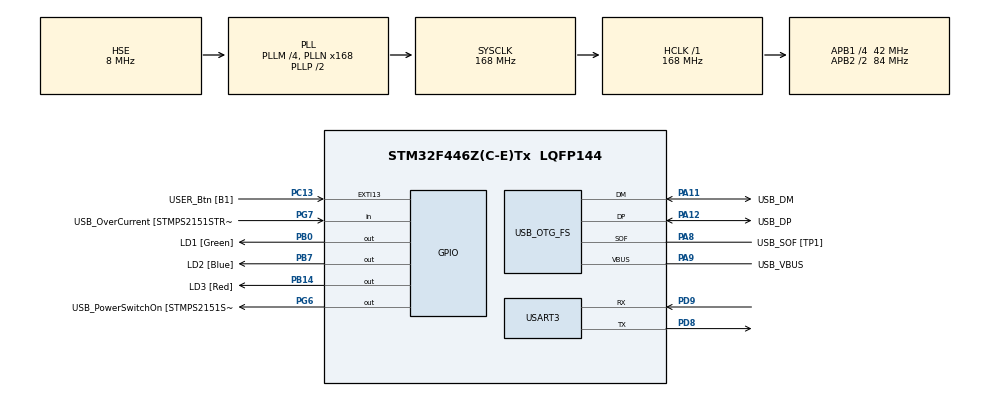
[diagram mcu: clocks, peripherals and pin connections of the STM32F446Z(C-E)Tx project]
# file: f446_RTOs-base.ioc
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FREERTOS.Tasks01=sensors,32,512,StartSensors,Default,NULL,Static,sensorsBuffer,sensorsControlBlock;telemetry,8,512,StartTelemetry,Default,NULL,Static,telemetryBuffer,telemetryControlBlock;ejection,8,512,StartEjection,Default,NULL,Static,ejectionBuffer,ejectionControlBlock
FREERTOS.configUSE_NEWLIB_REENTRANT=1
Mcu.Family=STM32F4
Mcu.Name=STM32F446Z(C-E)Tx
Mcu.Package=LQFP144
NVIC.PriorityGroup=NVIC_PRIORITYGROUP_4
NVIC.TIM6_DAC_IRQn=true\:15\:0\:false\:false\:true\:false\:false\:true
NVIC.TimeBase=TIM6_DAC_IRQn
NVIC.TimeBaseIP=TIM6
PA10.GPIO_Label=USB_ID
PA10.Signal=USB_OTG_FS_ID
PA11.GPIO_Label=USB_DM
PA11.Mode=Device_Only
PA11.Signal=USB_OTG_FS_DM
PA12.GPIO_Label=USB_DP
PA12.Mode=Device_Only
PA12.Signal=USB_OTG_FS_DP
PA13.GPIO_Label=TMS
PA13.Mode=Serial_Wire
PA13.Signal=SYS_JTMS-SWDIO
PA14.GPIO_Label=TCK
PA14.Mode=Serial_Wire
PA14.Signal=SYS_JTCK-SWCLK
PA8.GPIO_Label=USB_SOF [TP1]
PA8.Mode=Activate_SOF_FS
PA8.Signal=USB_OTG_FS_SOF
PA9.GPIO_Label=USB_VBUS
PA9.Mode=Activate_VBUS
PA9.Signal=USB_OTG_FS_VBUS
PB0.GPIO_Label=LD1 [Green]
PB0.Signal=GPIO_Output
PB14.GPIO_Label=LD3 [Red]
PB14.Signal=GPIO_Output
PB7.GPIO_Label=LD2 [Blue]
PB7.Signal=GPIO_Output
PC13.GPIO_Label=USER_Btn [B1]
PC13.Signal=GPXTI13
PC14-OSC32_IN.Mode=LSE-External-Oscillator
PC14-OSC32_IN.Signal=RCC_OSC32_IN
PC15-OSC32_OUT.Mode=LSE-External-Oscillator
PC15-OSC32_OUT.Signal=RCC_OSC32_OUT
PD8.Mode=Asynchronous
PD8.Signal=USART3_TX
PD9.Mode=Asynchronous
PD9.Signal=USART3_RX
PG6.GPIO_Label=USB_PowerSwitchOn [STMPS2151STR_EN]
PG6.Signal=GPIO_Output
PG7.GPIO_Label=USB_OverCurrent [STMPS2151STR_FAULT]
PG7.Signal=GPIO_Input
PH0-OSC_IN.GPIO_Label=MCO [STM32F103CBT6_PA8]
PH0-OSC_IN.Mode=HSE-External-Clock-Source
PH0-OSC_IN.Signal=RCC_OSC_IN
PH1-OSC_OUT.Mode=HSE-External-Clock-Source
PH1-OSC_OUT.Signal=RCC_OSC_OUT
ProjectManager.HeapSize=0x200
ProjectManager.StackSize=0x400
ProjectManager.TargetToolchain=STM32CubeIDE
RCC.48MHZClocksFreq_Value=24000000
RCC.AHBFreq_Value=168000000
RCC.APB1CLKDivider=RCC_HCLK_DIV4
RCC.APB1Freq_Value=42000000
RCC.APB1TimFreq_Value=84000000
RCC.APB2CLKDivider=RCC_HCLK_DIV2
RCC.APB2Freq_Value=84000000
RCC.APB2TimFreq_Value=168000000
RCC.CortexFreq_Value=168000000
RCC.HCLKFreq_Value=168000000
RCC.HSE_VALUE=8000000
RCC.HSI_VALUE=16000000
RCC.PLLM=4
RCC.PLLMUL=RCC_PLL_MUL9
RCC.PLLN=168
RCC.PLLQ=7
RCC.PRESCALERUSB=RCC_USBCLKSOURCE_PLL_DIV1_5
RCC.SYSCLKFreq_VALUE=168000000
RCC.SYSCLKSource=RCC_SYSCLKSOURCE_PLLCLK
RCC.SYSCLKSourceVirtual=RCC_SYSCLKSOURCE_PLLCLK
RCC.USBFreq_Value=48000000
RCC.VCOOutputFreq_Value=336000000
USART3.VirtualMode=VM_ASYNC
USB_OTG_FS.VirtualMode=Device_Only
VP_FREERTOS_VS_CMSIS_V2.Mode=CMSIS_V2
VP_SYS_VS_tim6.Mode=TIM6
board=NUCLEO-F446ZE

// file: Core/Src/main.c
/* USER CODE BEGIN Header */
/**
  ******************************************************************************
  * @file           : main.c
  * @brief          : Main program body
  ******************************************************************************
  * @attention
  *
  * <h2><center>&copy; Copyright (c) 2021 STMicroelectronics.
  * All rights reserved.</center></h2>
  *
  * This software component is licensed by ST under Ultimate Liberty license
  * SLA0044, the "License"; You may not use this file except in compliance with
  * the License. You may obtain a copy of the License at:
  *                             www.st.com/SLA0044
  *
  ******************************************************************************
  */
/* USER CODE END Header */
#include "main.h"
#include "cmsis_os.h"

typedef StaticTask_t osStaticThreadDef_t;

UART_HandleTypeDef huart3;

PCD_HandleTypeDef hpcd_USB_OTG_FS;

/* Definitions for sensors */
osThreadId_t sensorsHandle;
uint32_t sensorsBuffer[ 512 ];
osStaticThreadDef_t sensorsControlBlock;
const osThreadAttr_t sensors_attributes = {
  .name = "sensors",
  .cb_mem = &sensorsControlBlock,
  .cb_size = sizeof(sensorsControlBlock),
  .stack_mem = &sensorsBuffer[0],
  .stack_size = sizeof(sensorsBuffer),
  .priority = (osPriority_t) osPriorityAboveNormal,
};
/* Definitions for telemetry */
osThreadId_t telemetryHandle;
uint32_t telemetryBuffer[ 512 ];
osStaticThreadDef_t telemetryControlBlock;
const osThreadAttr_t telemetry_attributes = {
  .name = "telemetry",
  .cb_mem = &telemetryControlBlock,
  .cb_size = sizeof(telemetryControlBlock),
  .stack_mem = &telemetryBuffer[0],
  .stack_size = sizeof(telemetryBuffer),
  .priority = (osPriority_t) osPriorityLow,
};
/* Definitions for ejection */
osThreadId_t ejectionHandle;
uint32_t ejectionBuffer[ 512 ];
osStaticThreadDef_t ejectionControlBlock;
const osThreadAttr_t ejection_attributes = {
  .name = "ejection",
  .cb_mem = &ejectionControlBlock,
  .cb_size = sizeof(ejectionControlBlock),
  .stack_mem = &ejectionBuffer[0],
  .stack_size = sizeof(ejectionBuffer),
  .priority = (osPriority_t) osPriorityLow,
};
/* USER CODE BEGIN PV */
char msg[100];

float acceleration;
uint32_t numberOfFriends = 0; // :(
/* USER CODE END PV */

void SystemClock_Config(void);
static void MX_GPIO_Init(void);
static void MX_USART3_UART_Init(void);
static void MX_USB_OTG_FS_PCD_Init(void);
void StartSensors(void *argument);
void StartTelemetry(void *argument);
void StartEjection(void *argument);

/* USER CODE BEGIN PFP */
void myprintf(char *buffer) {
	HAL_UART_Transmit(&huart3, (uint8_t*) buffer, 100, 100);
}
/* USER CODE END PFP */

int main(void)
{

  /* MCU Configuration--------------------------------------------------------*/

  /* Reset of all peripherals, Initializes the Flash interface and the Systick. */
  HAL_Init();

  /* Configure the system clock */
  SystemClock_Config();

  /* Initialize all configured peripherals */
  MX_GPIO_Init();
  MX_USART3_UART_Init();
  MX_USB_OTG_FS_PCD_Init();

  /* Init scheduler */
  osKernelInitialize();

  /* Create the thread(s) */
  /* creation of sensors */
  sensorsHandle = osThreadNew(StartSensors, NULL, &sensors_attributes);

  /* creation of telemetry */
  telemetryHandle = osThreadNew(StartTelemetry, NULL, &telemetry_attributes);

  /* creation of ejection */
  ejectionHandle = osThreadNew(StartEjection, NULL, &ejection_attributes);

  /* Start scheduler */
  osKernelStart();

  /* We should never get here as control is now taken by the scheduler */
  /* Infinite loop */
  while (1)
  {

  }
}

void SystemClock_Config(void)
{
  RCC_OscInitTypeDef RCC_OscInitStruct = {0};
  RCC_ClkInitTypeDef RCC_ClkInitStruct = {0};

  /** Configure the main internal regulator output voltage
  */
  __HAL_RCC_PWR_CLK_ENABLE();
  __HAL_PWR_VOLTAGESCALING_CONFIG(PWR_REGULATOR_VOLTAGE_SCALE1);
  /** Initializes the RCC Oscillators according to the specified parameters
  * in the RCC_OscInitTypeDef structure.
  */
  RCC_OscInitStruct.OscillatorType = RCC_OSCILLATORTYPE_HSE;
  RCC_OscInitStruct.HSEState = RCC_HSE_BYPASS;
  RCC_OscInitStruct.PLL.PLLState = RCC_PLL_ON;
  RCC_OscInitStruct.PLL.PLLSource = RCC_PLLSOURCE_HSE;
  RCC_OscInitStruct.PLL.PLLM = 4;
  RCC_OscInitStruct.PLL.PLLN = 168;
  RCC_OscInitStruct.PLL.PLLP = RCC_PLLP_DIV2;
  RCC_OscInitStruct.PLL.PLLQ = 7;
  RCC_OscInitStruct.PLL.PLLR = 2;
  if (HAL_RCC_OscConfig(&RCC_OscInitStruct) != HAL_OK)
  {
    Error_Handler();
  }
  /** Initializes the CPU, AHB and APB buses clocks
  */
  RCC_ClkInitStruct.ClockType = RCC_CLOCKTYPE_HCLK|RCC_CLOCKTYPE_SYSCLK
                              |RCC_CLOCKTYPE_PCLK1|RCC_CLOCKTYPE_PCLK2;
  RCC_ClkInitStruct.SYSCLKSource = RCC_SYSCLKSOURCE_PLLCLK;
  RCC_ClkInitStruct.AHBCLKDivider = RCC_SYSCLK_DIV1;
  RCC_ClkInitStruct.APB1CLKDivider = RCC_HCLK_DIV4;
  RCC_ClkInitStruct.APB2CLKDivider = RCC_HCLK_DIV2;

  if (HAL_RCC_ClockConfig(&RCC_ClkInitStruct, FLASH_LATENCY_5) != HAL_OK)
  {
    Error_Handler();
  }
}

static void MX_USART3_UART_Init(void)
{

  huart3.Instance = USART3;
  huart3.Init.BaudRate = 115200;
  huart3.Init.WordLength = UART_WORDLENGTH_8B;
  huart3.Init.StopBits = UART_STOPBITS_1;
  huart3.Init.Parity = UART_PARITY_NONE;
  huart3.Init.Mode = UART_MODE_TX_RX;
  huart3.Init.HwFlowCtl = UART_HWCONTROL_NONE;
  huart3.Init.OverSampling = UART_OVERSAMPLING_16;
  if (HAL_UART_Init(&huart3) != HAL_OK)
  {
    Error_Handler();
  }

}

static void MX_USB_OTG_FS_PCD_Init(void)
{

  hpcd_USB_OTG_FS.Instance = USB_OTG_FS;
  hpcd_USB_OTG_FS.Init.dev_endpoints = 6;
  hpcd_USB_OTG_FS.Init.speed = PCD_SPEED_FULL;
  hpcd_USB_OTG_FS.Init.dma_enable = DISABLE;
  hpcd_USB_OTG_FS.Init.phy_itface = PCD_PHY_EMBEDDED;
  hpcd_USB_OTG_FS.Init.Sof_enable = ENABLE;
  hpcd_USB_OTG_FS.Init.low_power_enable = DISABLE;
  hpcd_USB_OTG_FS.Init.lpm_enable = DISABLE;
  hpcd_USB_OTG_FS.Init.vbus_sensing_enable = ENABLE;
  hpcd_USB_OTG_FS.Init.use_dedicated_ep1 = DISABLE;
  if (HAL_PCD_Init(&hpcd_USB_OTG_FS) != HAL_OK)
  {
    Error_Handler();
  }

}

static void MX_GPIO_Init(void)
{
  GPIO_InitTypeDef GPIO_InitStruct = {0};

  /* GPIO Ports Clock Enable */
  __HAL_RCC_GPIOC_CLK_ENABLE();
  __HAL_RCC_GPIOH_CLK_ENABLE();
  __HAL_RCC_GPIOB_CLK_ENABLE();
  __HAL_RCC_GPIOD_CLK_ENABLE();
  __HAL_RCC_GPIOG_CLK_ENABLE();
  __HAL_RCC_GPIOA_CLK_ENABLE();

  /*Configure GPIO pin Output Level */
  HAL_GPIO_WritePin(GPIOB, LD1_Pin|LD3_Pin|LD2_Pin, GPIO_PIN_RESET);

  /*Configure GPIO pin Output Level */
  HAL_GPIO_WritePin(USB_PowerSwitchOn_GPIO_Port, USB_PowerSwitchOn_Pin, GPIO_PIN_RESET);

  /*Configure GPIO pin : USER_Btn_Pin */
  GPIO_InitStruct.Pin = USER_Btn_Pin;
  GPIO_InitStruct.Mode = GPIO_MODE_IT_RISING;
  GPIO_InitStruct.Pull = GPIO_NOPULL;
  HAL_GPIO_Init(USER_Btn_GPIO_Port, &GPIO_InitStruct);

  /*Configure GPIO pins : LD1_Pin LD3_Pin LD2_Pin */
  GPIO_InitStruct.Pin = LD1_Pin|LD3_Pin|LD2_Pin;
  GPIO_InitStruct.Mode = GPIO_MODE_OUTPUT_PP;
  GPIO_InitStruct.Pull = GPIO_NOPULL;
  GPIO_InitStruct.Speed = GPIO_SPEED_FREQ_LOW;
  HAL_GPIO_Init(GPIOB, &GPIO_InitStruct);

  /*Configure GPIO pin : USB_PowerSwitchOn_Pin */
  GPIO_InitStruct.Pin = USB_PowerSwitchOn_Pin;
  GPIO_InitStruct.Mode = GPIO_MODE_OUTPUT_PP;
  GPIO_InitStruct.Pull = GPIO_NOPULL;
  GPIO_InitStruct.Speed = GPIO_SPEED_FREQ_LOW;
  HAL_GPIO_Init(USB_PowerSwitchOn_GPIO_Port, &GPIO_InitStruct);

  /*Configure GPIO pin : USB_OverCurrent_Pin */
  GPIO_InitStruct.Pin = USB_OverCurrent_Pin;
  GPIO_InitStruct.Mode = GPIO_MODE_INPUT;
  GPIO_InitStruct.Pull = GPIO_NOPULL;
  HAL_GPIO_Init(USB_OverCurrent_GPIO_Port, &GPIO_InitStruct);

}

void StartSensors(void *argument)
{
  /* USER CODE BEGIN 5 */
	float accels[10] = { 0.0, 0.23, 120.0, 420.0, 69.42, 10.3, 20.5, 12.12,
				42.42, 0.0 };
		uint32_t friends[10] = { 0, 1, 2, 3, 4, 5, 4, 3, 2, 1 };
		/* Infinite loop */

		char *buffer = (char*) malloc(100);
		memset(buffer, 0, 100);
		for (uint32_t i = 0;;i++) {

			acceleration = accels[i % 10];
			numberOfFriends = friends[i % 10];
			sprintf(buffer, "IN Acceleration: %f\r\n", acceleration);
			myprintf(buffer);
			sprintf(buffer, "IN Number of friends: %lu\r\n", numberOfFriends);
			myprintf(buffer);
			osDelay(2000);
		}
  /* USER CODE END 5 */
}

void StartTelemetry(void *argument)
{
  /* USER CODE BEGIN StartTelemetry */
  /* Infinite loop */
	char* buffer = (char*) malloc(100);
		sprintf(buffer, "OUT Acceleration");
		memset(buffer, 0, 100);
		for (;;) {

			sprintf(buffer, "OUT Acceleration: %f\r\n", acceleration);
			myprintf(buffer);
			sprintf(buffer, "OUT Number of friends: %li\r\n", numberOfFriends);
			myprintf(buffer);
			osDelay(1000);

		}
  /* USER CODE END StartTelemetry */
}

void StartEjection(void *argument)
{
  /* USER CODE BEGIN StartEjection */
  /* Infinite loop */
	char *buffer = (char*) malloc(100);
		memset(buffer, 0, 100);
		for (;;) {

			if (numberOfFriends == 5) {
				sprintf(buffer, "EJECT or smthg\r\n");
				myprintf(buffer);
			}
			osDelay(1000);

		}
  /* USER CODE END StartEjection */
}

void HAL_TIM_PeriodElapsedCallback(TIM_HandleTypeDef *htim)
{
  if (htim->Instance == TIM6) {
    HAL_IncTick();
  }
}

void Error_Handler(void)
{
  __disable_irq();
  while (1)
  {
  }
}

/************************ (C) COPYRIGHT STMicroelectronics *****END OF FILE****/
